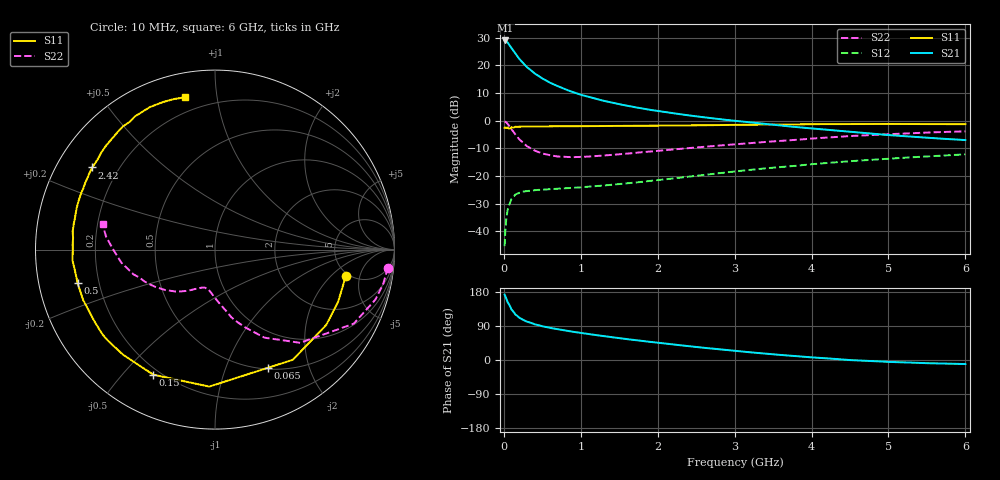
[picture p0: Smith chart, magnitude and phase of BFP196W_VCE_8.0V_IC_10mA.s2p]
! Infineon Technologies  Discrete & RF Semiconductors
! BFP196W
! VCE = 8.0 V,  IC =  10mA
! Common Emitter S-Parameters:  Jan 2016
# GHz  S  MA  R  50
!  f  S11  S21  S12  S22
! GHz  MAG  ANG  MAG  ANG  MAG  ANG  MAG  ANG
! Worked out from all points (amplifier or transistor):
!   210 points, 10 MHz to 6 GHz, reference 50 ohm
!   highest |S21| = 29.0 dB at 20 MHz (marker M1)
!   |S21| within 3 dB of that: start of sweep to 107.1 MHz
!   unconditionally stable (mu >= 1): 1.21 GHz to 3.368 GHz
!   at 185 MHz: K = 0.21, MSG = 24.6 dB, |S12| = -26.3 dB
!   at 1.52 GHz: K = 1.12, MAG = 12.3 dB, |S12| = -22.9 dB
!   at 6 GHz: K = 0.94, MSG = 2.6 dB, |S12| = -12.2 dB
!   S11 on the Smith chart (normalised r, x): 10 MHz: 4.70, -3.09; 65 MHz: 0.51, -1.41; 150 MHz: 0.17, -0.61; 500 MHz: 0.12, -0.12; 2.42 GHz: 0.11, +0.30; 6 GHz: 0.12, +0.82
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0.01  0.7437 -11.4  28.02 172.5  0.0054 83.5  0.9682 -6.0
0.02  0.7451 -23.0  28.14 168.4  0.0107 78.2  0.956 -11.8
0.03  0.7486 -34.1  27.58 163.0  0.0157 74.0  0.9357 -17.4
0.05  0.7516 -54.8  25.89 152.5  0.0248 65.4  0.8762 -28.1
0.065  0.7214 -66.0  24.03 147.6  0.0286 58.5  0.8152 -33.1
0.1  0.7639 -92.4  20.58 133.1  0.0386 48.2  0.7032 -47.6
0.15  0.7772 -116.3  16.33 120.1  0.0463 37.8  0.5626 -60.7
0.2  0.7781 -131.3  13.1 111.7  0.0497 32.2  0.4619 -69.1
0.24  0.7832 -139.6  11.38 107.2  0.0518 29.3  0.4108 -74.1
0.28  0.7825 -145.9  9.943 103.2  0.053 27.4  0.3665 -78.0
0.3  0.7819 -148.8  9.277 101.2  0.0534 26.6  0.3456 -79.9
0.4  0.7864 -159.1  7.14 94.3  0.0556 24.4  0.2887 -87.1
0.5  0.788 -166.2  5.791 89.0  0.0566 24.0  0.2552 -92.3
0.7  0.7962 -175.6  4.202 81.1  0.059 25.4  0.2253 -99.4
1.02  0.7945 174.8  2.89 70.9  0.0628 29.7  0.2218 -107.7
1.4  0.8016 165.9  2.123 60.3  0.0694 35.4  0.2406 -114.9
2.02  0.8123 153.4  1.483 45.2  0.085 43.4  0.2863 -126.1
2.42  0.8229 146.2  1.238 36.1  0.0979 46.0  0.3211 -133.3
3.1  0.8409 134.6  0.962 22.4  0.1248 47.3  0.3837 -146.5
4.1  0.8664 119.8  0.706 5.7  0.1677 43.8  0.4841 -165.1
5.1  0.8709 108.6  0.537 -5.6  0.2096 37.1  0.5772 178.2
6  0.8646 101.0  0.446 -10.7  0.2462 30.7  0.6419 167.4
